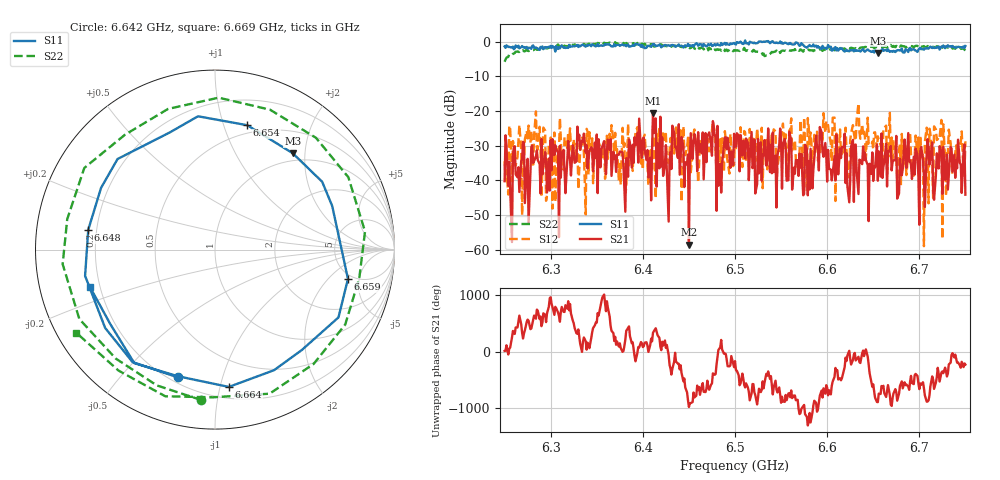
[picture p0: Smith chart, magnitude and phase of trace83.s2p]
# Hz S RI R 50
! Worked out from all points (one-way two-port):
!   401 points, 6.25 GHz to 6.75 GHz, reference 50 ohm
!   highest |S21| = -20.57 dB at 6.411 GHz (marker M1); lowest = -58.5 dB at 6.45 GHz (marker M2)
!   lowest |S11| = -3.2 dB at 6.655 GHz (marker M3), VSWR 5.45, Z = 43 + j88.1 ohm
!   |S11| at or under -10 dB: nowhere
!   |S22| runs from -5.8 to -0.1 dB; largest |S21 - S12| = 0.14
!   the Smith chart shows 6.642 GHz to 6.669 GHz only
!   S11 on the Smith chart (normalised r, x): 6.642 GHz: 0.23, -0.72; 6.648 GHz: 0.17, +0.08; 6.654 GHz: 0.42, +1.20; 6.659 GHz: 4.52, -3.48; 6.664 GHz: 0.28, -1.06; 6.669 GHz: 0.16, -0.14
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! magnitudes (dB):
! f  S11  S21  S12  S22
! 6.25 GHz  -1.3  -40.2  -34.5  -5.8
! 6.275 GHz  -2.0  -33.8  -27.9  -2.6
! 6.304 GHz  -1.7  -32.7  -26.2  -1.7
! 6.334 GHz  -0.9  -28.5  -27.7  -0.8
! 6.381 GHz  -0.8  -49.0  -43.6  -0.7
! 6.411 GHz  -0.6  -20.6  -23.5  -0.8
! 6.418 GHz  -0.9  -36.5  -24.8  -0.9
! 6.45 GHz  -1.1  -58.5  -34.5  -1.5
! 6.5 GHz  -0.6  -30.3  -26.7  -2.4
! 6.584 GHz  -1.3  -42.3  -33.1  -2.5
! 6.595 GHz  -1.2  -31.7  -28.8  -2.6
! 6.642 GHz  -2.6  -34.1  -33.8  -1.5
! 6.648 GHz  -2.9  -38.1  -29.8  -1.4
! 6.654 GHz  -2.9  -29.6  -30.8  -1.4
! 6.655 GHz  -3.2  -40.1  -27.3  -1.5
! 6.659 GHz  -2.4  -26.5  -29.5  -1.5
! 6.664 GHz  -2.3  -29.4  -24.2  -1.3
! 6.668 GHz  -2.9  -31.6  -20.5  -1.3
! 6.669 GHz  -2.8  -30.1  -33.2  -0.9
! 6.702 GHz  -2.1  -30.3  -34.1  -1.4
! 6.719 GHz  -1.4  -32.2  -28.3  -1.2
! 6.75 GHz  -1.2  -44.1  -28.7  -2.5
